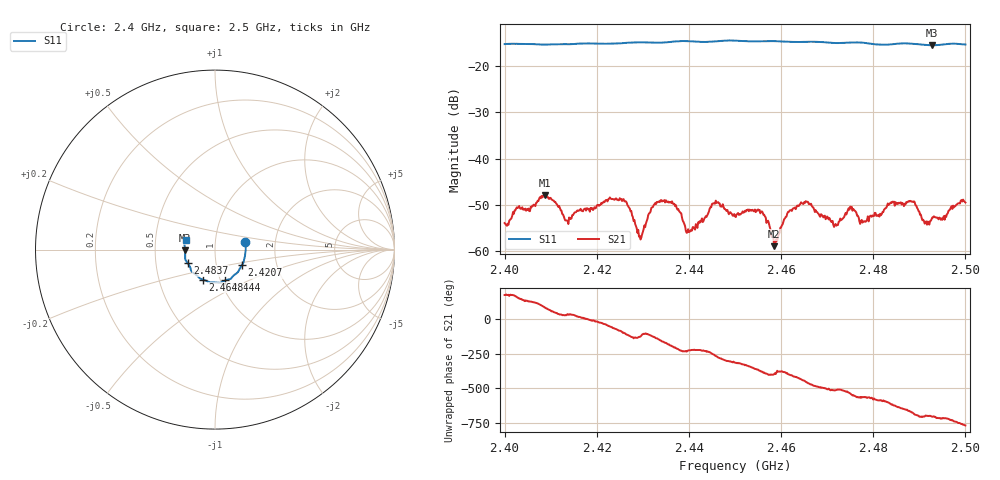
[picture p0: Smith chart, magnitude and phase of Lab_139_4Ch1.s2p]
# Hz S RI R 50
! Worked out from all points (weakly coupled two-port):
!   601 points, 2.4 GHz to 2.5 GHz, reference 50 ohm
!   highest |S21| = -47.94 dB at 2.4088 GHz (marker M1); lowest = -58.9 dB at 2.4585 GHz (marker M2)
!   lowest |S11| = -15.6 dB at 2.4928 GHz (marker M3), VSWR 1.40, Z = 35.7 - j0.299 ohm
!   |S11| at or under -10 dB: start of sweep to end of sweep
!   S12 and S22 are empty: the file has one direction only
!   S11 on the Smith chart (normalised r, x): 2.4 GHz: 1.39, +0.12; 2.4207 GHz: 1.33, -0.23; 2.444 GHz: 1.05, -0.37; 2.4648 GHz: 0.83, -0.29; 2.4837 GHz: 0.73, -0.11; 2.5 GHz: 0.72, +0.08
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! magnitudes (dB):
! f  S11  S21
! 2.4 GHz  -15.3  -53.9
! 2.4088 GHz  -15.4  -47.9
! 2.4133 GHz  -15.4  -53.3
! 2.4167 GHz  -15.2  -51.3
! 2.4207 GHz  -15.2  -50.0
! 2.426 GHz  -15.1  -49.2
! 2.4293 GHz  -14.9  -56.7
! 2.4333 GHz  -15.0  -49.3
! 2.4368 GHz  -14.8  -49.8
! 2.4398 GHz  -14.7  -55.2
! 2.444 GHz  -14.9  -52.2
! 2.446 GHz  -14.7  -49.6
! 2.45 GHz  -14.6  -52.5
! 2.4555 GHz  -14.7  -51.8
! 2.4585 GHz  -14.7  -58.9
! 2.4648 GHz  -14.9  -49.8
! 2.4667 GHz  -14.8  -50.2
! 2.4718 GHz  -15.1  -54.1
! 2.4833 GHz  -15.4  -50.0
! 2.4837 GHz  -15.4  -49.7
! 2.4928 GHz  -15.6  -52.7
! 2.5 GHz  -15.4  -49.5
